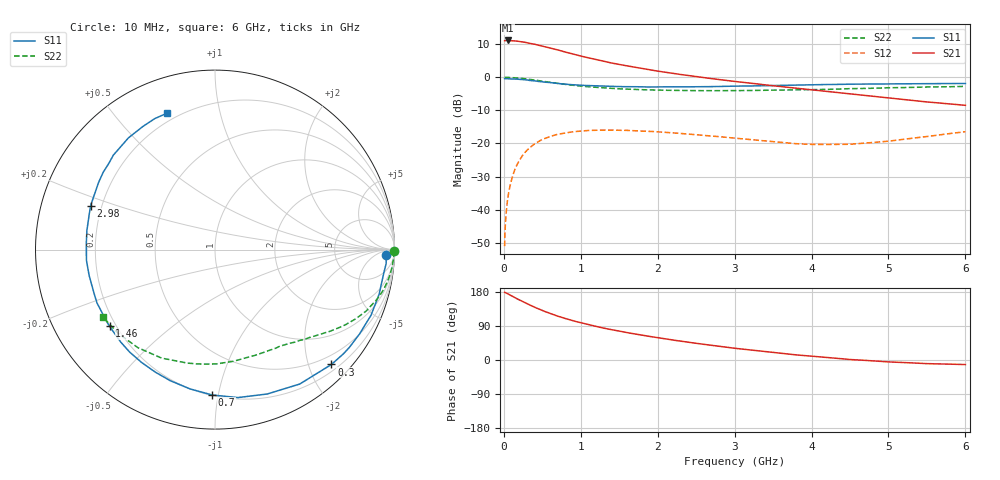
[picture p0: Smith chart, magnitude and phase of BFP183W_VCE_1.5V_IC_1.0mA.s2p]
! Infineon Technologies  Discrete & RF Semiconductors
! BFP183W
! VCE = 1.5 V,  IC =  1.0 mA
! Common Emitter S-Parameters:  Jan 2016
# GHz  S  MA  R  50
!  f  S11  S21  S12  S22
! GHz  MAG  ANG  MAG  ANG  MAG  ANG  MAG  ANG
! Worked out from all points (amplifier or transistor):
!   210 points, 10 MHz to 6 GHz, reference 50 ohm
!   highest |S21| = 11.1 dB at 50 MHz (marker M1)
!   |S21| within 3 dB of that: start of sweep to 721.5 MHz
!   unconditionally stable (mu >= 1): 2.668 GHz to end of sweep
!   at 185 MHz: K = 0.08, MSG = 18.4 dB, |S12| = -25.8 dB
!   at 1.52 GHz: K = 0.56, MSG = 9.9 dB, |S12| = -16.0 dB
!   at 6 GHz: K = 1.19, MAG = 1.3 dB, |S12| = -16.4 dB
!   S11 on the Smith chart (normalised r, x): 10 MHz: 31, -20; 300 MHz: 0.32, -2.40; 700 MHz: 0.20, -0.96; 1.46 GHz: 0.18, -0.32; 2.98 GHz: 0.16, +0.17; 6 GHz: 0.16, +0.70
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0.01  0.9553 -1.7  3.574 178.3  0.0028 90.1  0.9992 -0.6
0.02  0.9552 -3.1  3.598 178.0  0.006 86.0  0.9949 -1.2
0.05  0.9497 -7.7  3.605 174.8  0.0146 86.1  0.9956 -3.1
0.09  0.9467 -13.8  3.574 170.5  0.0254 80.7  0.9912 -5.4
0.15  0.9431 -22.8  3.545 163.9  0.0421 75.9  0.9822 -9.1
0.2  0.9326 -30.2  3.491 158.4  0.0549 71.5  0.9714 -11.9
0.3  0.9114 -44.6  3.332 148.4  0.0788 62.8  0.9423 -17.3
0.4  0.8853 -57.8  3.166 139.2  0.0988 55.0  0.9093 -22.1
0.5  0.8556 -70.1  2.966 130.4  0.1152 48.2  0.8738 -26.2
0.7  0.8102 -91.1  2.595 115.8  0.1375 36.5  0.8092 -32.9
0.9  0.7718 -108.8  2.255 103.4  0.1503 27.3  0.7568 -38.3
1.02  0.7566 -117.4  2.067 97.2  0.1546 22.7  0.7328 -41.2
1.2  0.7431 -129.8  1.849 88.4  0.159 16.5  0.7051 -45.2
1.46  0.7259 -143.9  1.594 77.8  0.1587 9.8  0.6744 -50.3
1.64  0.7203 -153.0  1.46 70.9  0.1567 6.1  0.6584 -53.6
2.02  0.7158 -168.9  1.23 58.2  0.1494 0.2  0.6394 -60.7
2.4  0.7179 177.7  1.062 46.7  0.1392 -4.2  0.6312 -68.4
2.98  0.7339 160.7  0.872 31.5  0.1209 -6.1  0.6303 -80.2
3.1  0.7364 157.5  0.842 28.8  0.1174 -5.7  0.6308 -82.8
4.1  0.7743 135.2  0.629 8.4  0.0966 7.5  0.653 -106.3
5.1  0.796 119.3  0.474 -5.8  0.1119 26.7  0.6967 -130.5
6  0.8058 109.2  0.377 -12.0  0.1505 33.0  0.7288 -149.0
